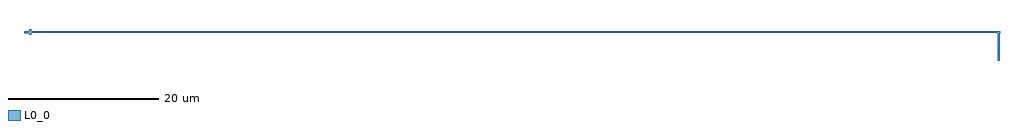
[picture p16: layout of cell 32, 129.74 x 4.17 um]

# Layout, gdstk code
import gdstk
lib = gdstk.Library(unit=1e-6, precision=1e-09)
def P(c, l, *ps):  # polygons
    for p in ps: c.add(gdstk.Polygon(p, *l))
L0_0 = (0, 0)

c_32 = lib.new_cell('32')
P(c_32, L0_0, [(1204.64,765.94),(1205.02,765.94),(1205.02,765.66),(1204.64,765.66),(1204.64,765.94)],
  [(1204.715,765.915),(1333.645,765.915),(1333.645,765.685),(1204.715,765.685),(1204.715,765.915)],
  [(1333.34,765.94),(1333.72,765.94),(1333.72,765.66),(1333.34,765.66),(1333.34,765.94)],
  [(1333.34,765.94),(1333.72,765.94),(1333.72,765.66),(1333.34,765.66),(1333.34,765.94)],
  [(1333.39,762),(1333.39,765.94),(1333.67,765.94),(1333.67,762),(1333.39,762)],
  [(1204.69,766.17),(1204.97,766.17),(1204.97,765.43),(1204.69,765.43),(1204.69,766.17)],
  [(1204.64,765.94),(1205.02,765.94),(1205.02,765.66),(1204.64,765.66),(1204.64,765.94)],
  [(1203.98,765.94),(1204.36,765.94),(1204.36,765.66),(1203.98,765.66),(1203.98,765.94)],
  [(1204.64,765.94),(1205.02,765.94),(1205.02,765.66),(1204.64,765.66),(1204.64,765.94)],
  [(1204.03,765.94),(1204.97,765.94),(1204.97,765.66),(1204.03,765.66),(1204.03,765.94)])

lib.write_gds('32.gds')
